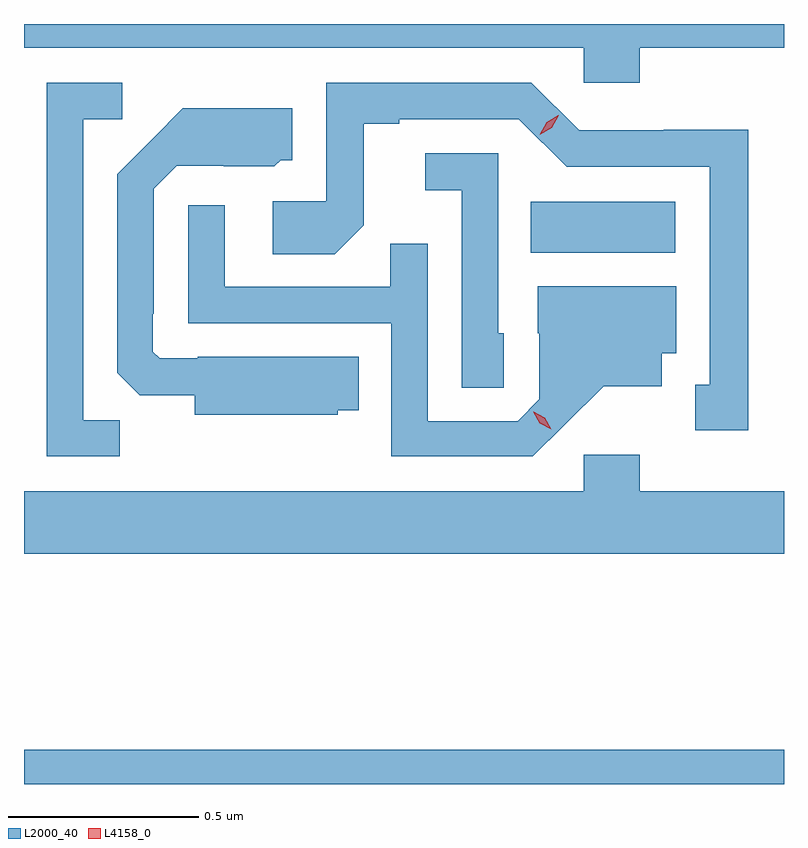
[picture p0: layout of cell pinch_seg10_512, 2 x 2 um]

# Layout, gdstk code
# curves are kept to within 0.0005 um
import gdstk
lib = gdstk.Library(unit=1e-6, precision=1e-09)
def R(c, l, rs):  # rectangles x0, y0, x1, y1
    for r in rs: c.add(gdstk.rectangle(r[:2], r[2:], *l))
def P(c, l, *ps):  # polygons
    for p in ps: c.add(gdstk.Polygon(p, *l))
L2000_40 = (2000, 40)
L4158_0 = (4158, 0)

pinch_seg10_512 = lib.new_cell('pinch_seg10_512')
R(pinch_seg10_512, L2000_40, [(281.223,1297.046,283.223,1297.136), (282.556,1298.444,282.937,1298.578)])
P(pinch_seg10_512, L2000_40, [(282.843,1298.984),(283.223,1298.984),(283.223,1299.046),(281.223,1299.046),(281.223,1298.984),(282.696,1298.984),(282.696,1298.891),(282.843,1298.891)],
  [(283.129,1298.768),(282.906,1298.768),(282.906,1298.766),(282.684,1298.766),(282.558,1298.892),(282.018,1298.892),(282.018,1298.58),(281.877,1298.58),(281.877,1298.44),(282.041,1298.44),(282.117,1298.516),(282.117,1298.784),(282.211,1298.784),(282.211,1298.796),(282.525,1298.796),(282.651,1298.67),(283.028,1298.67),(283.028,1298.097),(282.989,1298.097),(282.989,1297.977),(283.129,1297.977)],
  [(281.475,1298.003),(281.379,1298.003),(281.379,1298.796),(281.482,1298.796),(281.482,1298.892),(281.283,1298.892),(281.283,1297.908),(281.475,1297.908)],
  [(282.048,1298.03),(282.104,1298.03),(282.104,1298.17),(281.68,1298.17),(281.68,1298.166),(281.58,1298.166),(281.562,1298.184),(281.562,1298.284),(281.565,1298.284),(281.565,1298.613),(281.625,1298.673),(281.748,1298.673),(281.748,1298.672),(281.882,1298.672),(281.898,1298.688),(281.929,1298.688),(281.929,1298.824),(281.641,1298.824),(281.469,1298.65),(281.469,1298.128),(281.528,1298.069),(281.672,1298.069),(281.672,1298.018),(282.048,1298.018)],
  [(282.486,1298.232),(282.471,1298.232),(282.471,1298.706),(282.279,1298.706),(282.279,1298.609),(282.375,1298.609),(282.375,1298.089),(282.486,1298.089)],
  [(282.646,1297.991),(282.749,1298.093),(282.901,1298.093),(282.901,1298.18),(282.94,1298.18),(282.94,1298.356),(282.575,1298.356),(282.575,1298.232),(282.579,1298.232),(282.579,1298.058),(282.522,1298.001),(282.285,1298.001),(282.285,1298.468),(282.187,1298.468),(282.187,1298.355),(281.751,1298.355),(281.751,1298.569),(281.655,1298.569),(281.655,1298.259),(282.189,1298.259),(282.189,1297.908),(282.562,1297.908)],
  [(283.223,1297.816),(282.843,1297.816),(282.843,1297.912),(282.696,1297.912),(282.696,1297.816),(281.223,1297.816),(281.223,1297.652),(283.223,1297.652)])
P(pinch_seg10_512, L4158_0, [(282.58,1298.754),(282.58,1298.754),(282.598,1298.787),(282.629,1298.806),(282.63,1298.806),(282.63,1298.806),(282.612,1298.773),(282.58,1298.754)],
  [(282.61,1297.98),(282.58,1297.996),(282.563,1298.025),(282.563,1298.026),(282.564,1298.026),(282.594,1298.01),(282.61,1297.98),(282.61,1297.98)])

lib.write_gds('pinch_seg10_512.gds')
